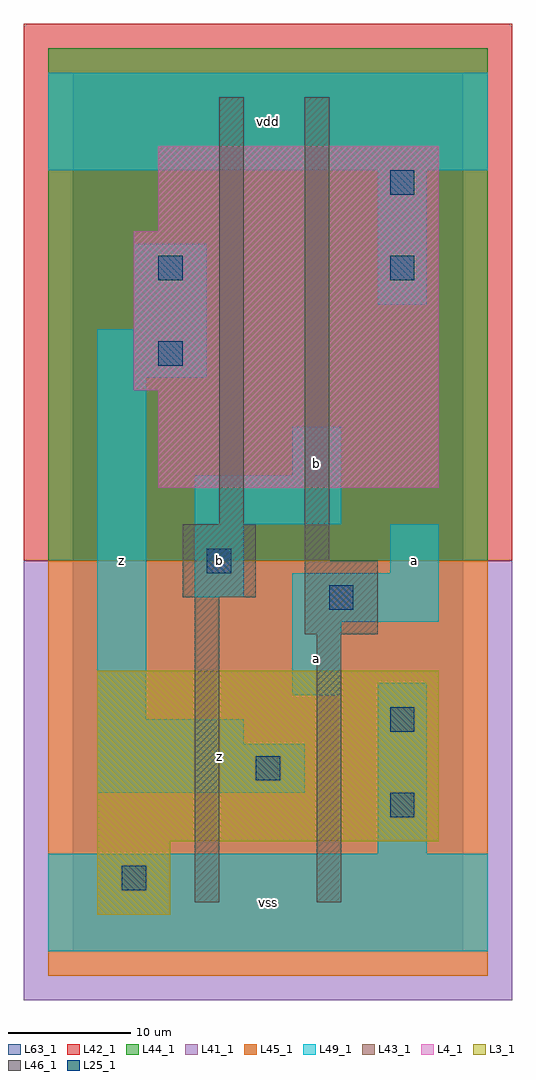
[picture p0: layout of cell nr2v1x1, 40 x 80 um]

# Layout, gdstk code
import gdstk
lib = gdstk.Library(unit=1e-6, precision=1e-09)
def R(c, l, rs):  # rectangles x0, y0, x1, y1
    for r in rs: c.add(gdstk.rectangle(r[:2], r[2:], *l))
L3_1 = (3, 1)
L4_1 = (4, 1)
L25_1 = (25, 1)
L41_1 = (41, 1)
L42_1 = (42, 1)
L43_1 = (43, 1)
L44_1 = (44, 1)
L45_1 = (45, 1)
L46_1 = (46, 1)
L49_1 = (49, 1)
L63_1 = (63, 1)

nr2v1x1 = lib.new_cell('nr2v1x1')
R(nr2v1x1, L3_1, [(2,3,8,9), (2,9,30,23)])
R(nr2v1x1, L4_1, [(7,38,30,46), (5,46,30,59), (7,59,30,66)])
R(nr2v1x1, L25_1, [(4,5,6,7), (26,11,28,13), (15,14,17,16), (26,18,28,20), (21,28,23,30), (11,31,13,33), (7,48,9,50), (7,55,9,57), (26,55,28,57), (26,62,28,64)])
R(nr2v1x1, L41_1, [(-4,-4,36,32)])
R(nr2v1x1, L42_1, [(-4,32,36,76)])
R(nr2v1x1, L43_1, [(2,3,8,9), (2,9,30,23), (7,38,30,46), (5,46,30,59), (7,59,30,66)])
R(nr2v1x1, L44_1, [(-2,32,34,74)])
R(nr2v1x1, L45_1, [(-2,-2,34,32)])
R(nr2v1x1, L46_1, [(10,4,12,29), (20,4,22,26), (19,26,25,32), (9,29,15,35), (19,32,21,70), (12,35,14,70)])
R(nr2v1x1, L49_1, [(-2,0,34,8), (25,8,29,22), (2,13,19,17), (2,17,14,19), (2,19,6,47), (18,21,22,27), (18,27,30,31), (10,29,14,35), (26,31,30,35), (10,35,22,39), (18,39,22,43), (2,47,11,51), (5,51,11,58), (25,53,29,64), (-2,64,34,72)])
R(nr2v1x1, L63_1, [(0,0,32,72)])
nr2v1x1.add(gdstk.Label('z', (4,32), layer=49, texttype=1))
nr2v1x1.add(gdstk.Label('z', (12,16), layer=49, texttype=1))
nr2v1x1.add(gdstk.Label('b', (12,32), layer=49, texttype=1))
nr2v1x1.add(gdstk.Label('vss', (16,4), layer=49, texttype=1))
nr2v1x1.add(gdstk.Label('a', (20,24), layer=49, texttype=1))
nr2v1x1.add(gdstk.Label('b', (20,40), layer=49, texttype=1))
nr2v1x1.add(gdstk.Label('vdd', (16,68), layer=49, texttype=1))
nr2v1x1.add(gdstk.Label('a', (28,32), layer=49, texttype=1))

lib.write_gds('nr2v1x1.gds')
